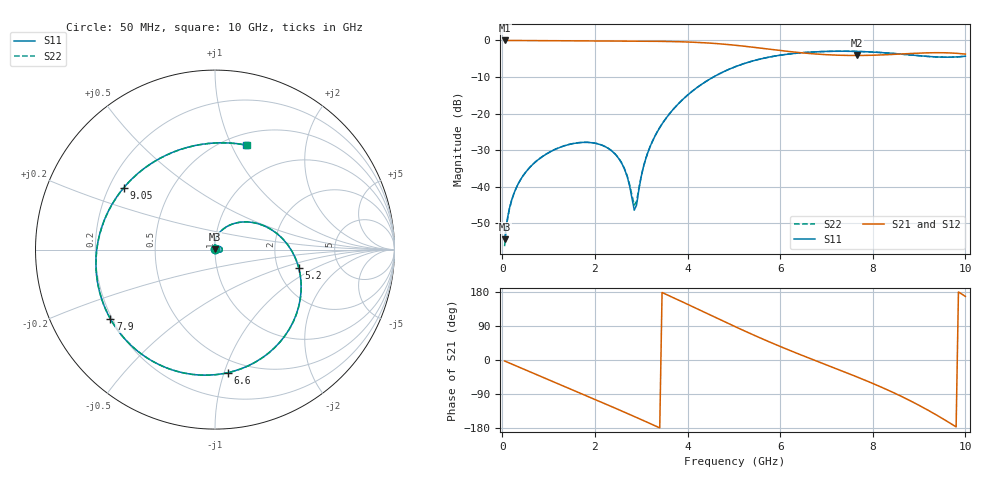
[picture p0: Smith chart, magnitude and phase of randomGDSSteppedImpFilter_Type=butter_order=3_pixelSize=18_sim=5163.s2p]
! freq	dB(S11)	phase(S11)	dB(S12)	phase(S12)
!  dB(S21)	phase(S21)	dB(S22)	phase(S22)
!S-par simulation data
#  GHz  S  DB  R 50
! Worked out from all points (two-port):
!   200 points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, 50 MHz to 10 GHz, reference 50 ohm
!   highest |S21| = 0.00 dB at 50 MHz (marker M1); lowest = -4.1 dB at 7.65 GHz (marker M2)
!   |S21| within 3 dB of the highest: start of sweep to 6.177 GHz
!   lowest |S11| = -54.4 dB at 50 MHz (marker M3), VSWR 1.00, Z = 50.1 + j0.152 ohm
!   |S11| at or under -10 dB: start of sweep to 4.559 GHz
!   |S22| runs from -56.3 to -2.9 dB; largest |S21 - S12| = 0
!   S11 on the Smith chart (normalised r, x): 50 MHz: 1.00, +0.00; 5.2 GHz: 2.61, -0.70; 6.6 GHz: 0.40, -1.03; 7.9 GHz: 0.19, -0.29; 9.05 GHz: 0.26, +0.29; 10 GHz: 0.62, +1.14
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0.05  -54.37 52.4  -0.00 -2.6  -0.00 -2.6  -56.27 49.2
0.2  -43.74 70.9  -0.01 -10.4  -0.01 -10.4  -43.83 70.7
0.5  -36.11 62.2  -0.04 -26.0  -0.04 -26.0  -36.11 62.4
1.15  -29.74 31.2  -0.08 -59.6  -0.08 -59.6  -29.73 31.7
1.75  -27.88 1.4  -0.11 -90.9  -0.11 -90.9  -27.86 2.2
2.5  -32.05 -32.6  -0.16 -130.3  -0.16 -130.3  -31.97 -30.7
2.7  -37.38 -33.9  -0.17 -141.0  -0.17 -141.0  -37.15 -30.6
2.85  -46.44 15.1  -0.18 -149.1  -0.18 -149.1  -45.04 16.4
3.1  -32.28 94.6  -0.20 -162.6  -0.20 -162.6  -32.25 92.7
3.4  -23.83 85.0  -0.25 -179.1  -0.25 -179.1  -23.83 84.3
4.3  -12.03 37.6  -0.59 129.9  -0.59 129.9  -12.04 37.6
5.05  -7.09 -4.3  -1.34 86.8  -1.34 86.8  -7.09 -4.1
5.2  -6.41 -12.6  -1.54 78.4  -1.54 78.4  -6.41 -12.3
5.9  -4.24 -49.6  -2.59 40.9  -2.59 40.9  -4.24 -49.3
6.6  -3.23 -83.9  -3.54 6.1  -3.54 6.1  -3.23 -83.5
6.7  -3.16 -88.6  -3.64 1.3  -3.64 1.3  -3.16 -88.3
7.65  -3.00 -134.0  -4.11 -44.2  -4.11 -44.2  -3.00 -133.6
7.9  -3.11 -146.5  -4.08 -56.7  -4.08 -56.7  -3.11 -146.1
8.35  -3.46 -170.7  -3.87 -80.6  -3.87 -80.6  -3.46 -170.3
9.05  -4.23 146.0  -3.44 -122.9  -3.44 -122.9  -4.24 146.2
9.55  -4.58 109.5  -3.37 -157.7  -3.37 -157.7  -4.58 109.4
10  -4.32 73.4  -3.73 167.9  -3.73 167.9  -4.33 73.0
